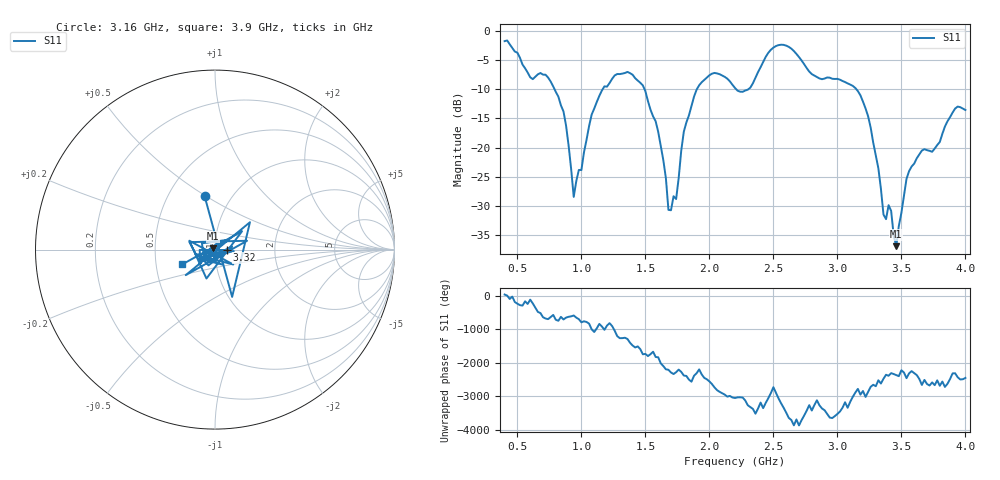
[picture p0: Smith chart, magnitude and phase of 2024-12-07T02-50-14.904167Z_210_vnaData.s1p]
!Created with skrf (http://scikit-rf.org).
# Hz S RI R 50.0
!freq ReS11 ImS11
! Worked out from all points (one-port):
!   181 points, 400 MHz to 4 GHz, reference 50 ohm
!   lowest |S11| = -36.9 dB at 3.46 GHz (marker M1), VSWR 1.03, Z = 48.7 + j0.629 ohm
!   |S11| at or under -10 dB: 790.2 MHz to 1.166 GHz (375.9 MHz wide, 38.4 % of centre); 1.493 GHz to 1.902 GHz (408.5 MHz wide, 24.1 % of centre); 3.148 GHz to end of sweep (the widest 3 of 4)
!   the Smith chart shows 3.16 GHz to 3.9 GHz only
!   S11 on the Smith chart (normalised r, x): 3.16 GHz: 0.75, +0.49; 3.32 GHz: 1.14, -0.00; 3.9 GHz: 0.68, -0.12
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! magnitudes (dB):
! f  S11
! 400 MHz  -1.8
! 600 MHz  -7.9
! 740 MHz  -8.0
! 860 MHz  -13.8
! 940 MHz  -28.5
! 1.08 GHz  -14.4
! 1.3 GHz  -7.4
! 1.5 GHz  -10.3
! 1.6 GHz  -17.3
! 1.68 GHz  -30.7
! 1.76 GHz  -25.2
! 1.8 GHz  -17.3
! 1.92 GHz  -9.3
! 2.04 GHz  -7.2
! 2.2 GHz  -9.8
! 2.32 GHz  -9.7
! 2.5 GHz  -2.9
! 2.66 GHz  -3.5
! 3.1 GHz  -9.2
! 3.16 GHz  -10.3
! 3.24 GHz  -14.6
! 3.32 GHz  -23.5
! 3.36 GHz  -31.5
! 3.42 GHz  -30.9
! 3.46 GHz  -36.9
! 3.56 GHz  -24.0
! 3.9 GHz  -14.0
! 4 GHz  -13.6
